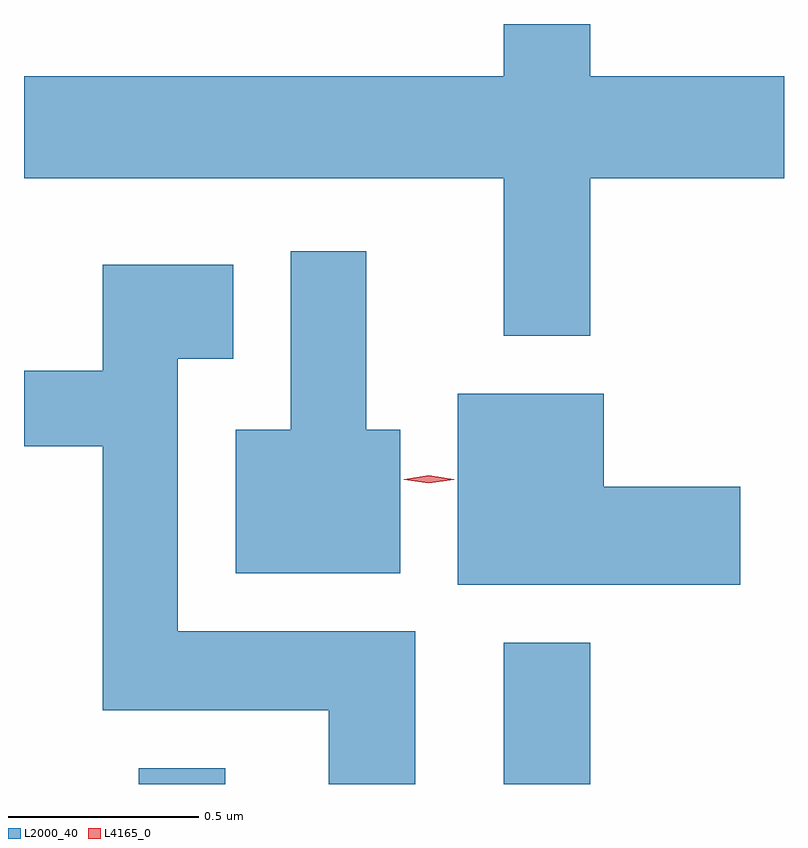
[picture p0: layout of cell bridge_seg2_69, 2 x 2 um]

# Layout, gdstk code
import gdstk
lib = gdstk.Library(unit=1e-6, precision=1e-09)
def R(c, l, rs):  # rectangles x0, y0, x1, y1
    for r in rs: c.add(gdstk.rectangle(r[:2], r[2:], *l))
def P(c, l, *ps):  # polygons
    for p in ps: c.add(gdstk.Polygon(p, *l))
L2000_40 = (2000, 40)
L4165_0 = (4165, 0)

bridge_seg2_69 = lib.new_cell('bridge_seg2_69')
R(bridge_seg2_69, L2000_40, [(1104.871,1066.702,1105.099,1066.744), (1105.831,1066.702,1106.059,1067.074)])
P(bridge_seg2_69, L2000_40, [(1106.059,1068.296),(1106.569,1068.296),(1106.569,1068.564),(1106.059,1068.564),(1106.059,1068.702),(1105.831,1068.702),(1105.831,1068.564),(1104.569,1068.564),(1104.569,1068.296),(1105.831,1068.296),(1105.831,1067.881),(1106.059,1067.881)],
  [(1105.559,1067.634),(1105.469,1067.634),(1105.469,1068.104),(1105.271,1068.104),(1105.271,1067.634),(1105.126,1067.634),(1105.126,1067.256),(1105.559,1067.256)],
  [(1105.599,1067.104),(1104.974,1067.104),(1104.974,1067.821),(1105.119,1067.821),(1105.119,1068.069),(1104.776,1068.069),(1104.776,1067.789),(1104.569,1067.789),(1104.569,1067.591),(1104.776,1067.591),(1104.776,1066.896),(1105.371,1066.896),(1105.371,1066.702),(1105.599,1066.702)],
  [(1106.454,1067.484),(1106.094,1067.484),(1106.094,1067.729),(1105.711,1067.729),(1105.711,1067.226),(1106.454,1067.226)])
P(bridge_seg2_69, L4165_0, [(1105.634,1067.494),(1105.569,1067.503),(1105.568,1067.504),(1105.569,1067.504),(1105.634,1067.514),(1105.7,1067.504),(1105.701,1067.504),(1105.7,1067.503)])

lib.write_gds('bridge_seg2_69.gds')
